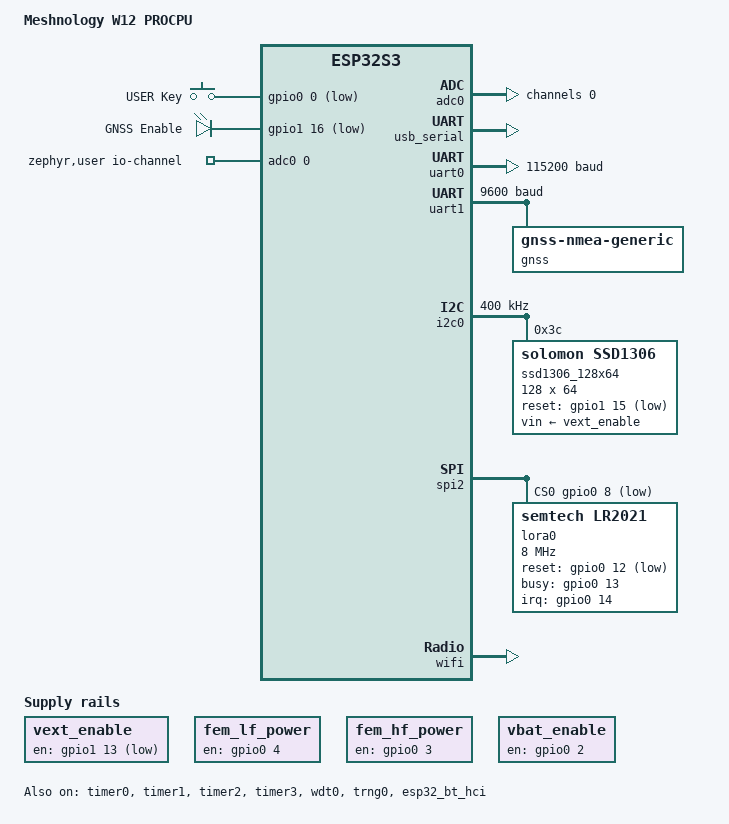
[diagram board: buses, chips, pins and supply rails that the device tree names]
/*
 * SPDX-License-Identifier: MIT
 * Meshnology W12 "WiFi LoRa 32 V5" — ZephCore procpu DTS
 *
 * Every pin and polarity below is taken from the vendor schematic
 * W12-MB-V0.2 and the vendor pin-assignment sheet, both archived in
 * devdocs/w12/vendor/. Several of them contradict what the Arduino-side
 * variants for this board claim; the schematic decides every time — see
 * devdocs/w12/HANDOVER_MESHNOLOGY_W12.md for the list.
 *
 * Hardware:
 *   MCU:     ESP32-S3R8 (WROOM-1 N16R8) — 16 MB QIO flash, 8 MB OPI PSRAM
 *   Radio:   Semtech LR2021 on SPI2, plain 32 MHz crystal (no TCXO)
 *   FEM:     GC1109 sub-GHz PA/LNA (~30 dBm out) + RFX2402E 2.4 GHz PA
 *   OLED:    SSD1315 128x64 (SSD1306-compatible) on I2C0, bicolour glass
 *   Button:  GPIO0 (BOOT doubles as the user key)
 *   BatADC:  GPIO1 = ADC1_CH0, divider enable GPIO2 active-HIGH
 *   Vext:    GPIO45 active-LOW (AO3401 P-FET gating an LDO enable)
 *   GNSS:    header on UART1, unpopulated from the factory
 *   Console: native USB Serial/JTAG (there is no USB-UART bridge)
 *
 * LoRa SPI2:  SCLK=9, MOSI=10, MISO=11, NSS=8
 * LoRa ctrl:  RESET=12, BUSY=13, IRQ=14 (chip DIO8)
 * FEM rails:  sub-GHz enable GPIO4, 2.4 GHz enable GPIO3 (both active-HIGH)
 * FEM switch: chip DIO9=CTX, DIO10=CPS, DIO11=CSD, DIO5/6 = 2.4 GHz TX/RX EN
 */

/dts-v1/;

#include <espressif/esp32s3/esp32s3.dtsi>
#include "meshnology_w12-pinctrl.dtsi"
#include <espressif/partitions_0x0_default_16M.dtsi>
#include <zephyr/dt-bindings/input/input-event-codes.h>
#include <zephyr/dt-bindings/adc/adc.h>

/ {
	model = "Meshnology W12 PROCPU";
	compatible = "meshnology,w12";

	aliases {
		uart-0 = &uart0;
		i2c-0 = &i2c0;
		lora0 = &lora0;
		sw0 = &button0;
		watchdog0 = &wdt0;
	};

	buttons: buttons {
		compatible = "gpio-keys";
		button0: button_0 {
			gpios = <&gpio0 0 (GPIO_PULL_UP | GPIO_ACTIVE_LOW)>;
			label = "USER Key";
			zephyr,code = <INPUT_KEY_0>;
		};
	};

	/* Vext rail — GPIO45, ACTIVE LOW.
	 *
	 * Schematic sheet 1: GPIO45 drives the gate of Q1 (AO3401, P-channel)
	 * through R3 1k. Q1's source sits on VDD_3V3 with R2 100k gate-to-source
	 * holding it off, and its drain feeds the EN pin of U4 (TLV75733 LDO),
	 * which R5 100k pulls to ground. So GPIO45 LOW turns the P-FET on, pulls
	 * EN high and brings VEXT_3V3 up; GPIO45 high or floating leaves the rail
	 * dead. That makes this active-LOW, and it makes the rail OFF by default.
	 *
	 * MeshCore's variant declares PIN_VEXT_EN_ACTIVE=HIGH, which is wrong for
	 * this circuit. Do not "fix" this to active-HIGH to match it without
	 * re-reading sheet 1 — the whole peripheral rail, OLED included, hangs
	 * off this pin.
	 *
	 * GPIO45 is also an ESP32-S3 strapping pin (VDD_SPI voltage select) with
	 * an internal pull-down at reset. That default reads as 0, which is the
	 * same level we drive to enable the rail, so there is no boot conflict —
	 * but never add a pull-up here, it would flip the strap. */
	vext_enable: vext-enable {
		compatible = "regulator-fixed";
		regulator-name = "vext";
		enable-gpios = <&gpio1 13 GPIO_ACTIVE_LOW>;  /* GPIO45 */
		regulator-boot-on;
		regulator-always-on;
	};

	/* Sub-GHz front end rail — GPIO4 (PA_EN_M), ACTIVE HIGH.
	 *
	 * Drives the EN pin of the adjustable regulator that supplies the GC1109
	 * (net VR_PA). Its pull-up R56 is marked NC on the schematic, so the rail
	 * is off until firmware asserts this — the radio is deaf and mute without
	 * it, in both directions, because the GC1109 carries the RX LNA too.
	 *
	 * startup-delay-us matches the 100 ms MeshCore waits after enabling the
	 * FEM before touching the radio. Expressed as a regulator startup delay it
	 * is paid once at regulator init, which runs at priority 75 — ahead of the
	 * LoRa driver — instead of being a sleep on the radio init path. */
	fem_lf_power: fem-lf-power {
		compatible = "regulator-fixed";
		regulator-name = "fem-lf";
		enable-gpios = <&gpio0 4 GPIO_ACTIVE_HIGH>;  /* GPIO4 = PA_EN_M */
		startup-delay-us = <100000>;
		regulator-boot-on;
		regulator-always-on;
	};

	/* 2.4 GHz front end rail — GPIO3 (PA_EN_G), ACTIVE HIGH, deliberately
	 * left DISABLED. ZephCore is sub-GHz only, so the RFX2402E never needs
	 * power, and leaving its rail up would burn current for nothing.
	 *
	 * This is a regulator rather than a comment because an undriven GPIO3
	 * floats: R38 (the EN pull-up) is marked NC, so nothing else defines the
	 * level. regulator_fixed_init() configures the enable pin
	 * GPIO_OUTPUT_INACTIVE when the node has neither regulator-boot-on nor
	 * regulator-always-on, which actively drives GPIO3 LOW at boot. That is
	 * the entire purpose of this node — do not add boot-on/always-on. */
	fem_hf_power: fem-hf-power {
		compatible = "regulator-fixed";
		regulator-name = "fem-hf";
		enable-gpios = <&gpio0 3 GPIO_ACTIVE_HIGH>;  /* GPIO3 = PA_EN_G */
	};

	/* Battery divider enable — GPIO2, ACTIVE HIGH.
	 * GPIO2 -> R52 1k -> base of Q7 (S8050 NPN); Q7's collector pulls the gate
	 * of Q6 (AO3401A P-FET) down through R48 1k, switching BAT onto the
	 * R50 390K / R51 100K divider. Driving GPIO2 high therefore enables the
	 * divider; undriven, the divider is open and GPIO1 reads a hard 0 mV.
	 * ZephyrBoard toggles this per reading, so the divider draws nothing
	 * between samples. */
	vbat_enable: vbat-enable {
		compatible = "regulator-fixed";
		regulator-name = "vbat-enable";
		enable-gpios = <&gpio0 2 GPIO_ACTIVE_HIGH>;  /* GPIO2 = ADC_CTRL */
	};

	/* GNSS module power — GPIO48 (GNSS_CTRL), ACTIVE LOW.
	 * The header is unpopulated on shipping units; the node is unconditional
	 * so a user-fitted module just works, exactly like the RAK4631's optional
	 * RAK1910. With nothing fitted the driver simply never sees a fix. */
	gps_en: gps-enable {
		compatible = "gpio-leds";
		gps_enable_pin: gps_enable {
			gpios = <&gpio1 16 GPIO_ACTIVE_LOW>;  /* GPIO48 */
			label = "GNSS Enable";
		};
	};

	/* Battery ADC — ZephCore reads this via zephyr,user { io-channels }.
	 * Multiplier = internal reference (1100 mV) x divider ratio 4.90
	 * ((390K + 100K) / 100K, schematic R50/R51) = 5390. */
	zephyr,user {
		io-channels = <&adc0 0>;
		vbat-mv-multiplier = <5390>;
	};

	aliases {
		gps-enable = &gps_enable_pin;
	};

	chosen {
		zephyr,sram = &sram1;
		/* There is no USB-UART bridge on this board — GPIO43/44 only reach
		 * the expansion header — so the stock console is USB Serial/JTAG.
		 * A companion build pulls in boards/common/esp32s3_usb.conf, which
		 * hands D+/D- to USB OTG CDC-ACM and reroutes this console to
		 * uart0 on the header. */
		zephyr,console = &usb_serial;
		zephyr,shell-uart = &usb_serial;
		zephyr,flash = &flash0;
		zephyr,code-partition = &slot0_partition;
		zephyr,bt-hci = &esp32_bt_hci;
		zephyr,display = &ssd1306_128x64;
	};
};

/* Battery ADC on adc0 (ADC unit 1 -> GPIO1 = ADC1_CH0). The node *labelled*
 * adc0 is unit 1; the node labelled adc1 is unit 2 (GPIO11 = LR2021 MISO).
 * The channel@0 node is required — without it adc_channel_setup_dt() fails and
 * getBattMilliVolts() returns 0 before ever performing a conversion.
 * ADC_GAIN_1 (0 dB) with ADC_REF_INTERNAL (~1100 mV): a 3.0-4.2 V cell lands at
 * 612-857 mV after the 4.90 divider, comfortably inside range. */
&adc0 {
	status = "okay";
	#address-cells = <1>;
	#size-cells = <0>;

	channel@0 {
		reg = <0>;
		zephyr,gain = "ADC_GAIN_1";
		zephyr,reference = "ADC_REF_INTERNAL";
		zephyr,acquisition-time = <ADC_ACQ_TIME_DEFAULT>;
		zephyr,resolution = <12>;
	};
};

/* ADC unit 2 (label adc1) is unused; keep it disabled so nothing can claim
 * GPIO11 (LR2021 MISO) as an ADC pad. */
&adc1 {
	status = "disabled";
};

&usb_serial {
	status = "okay";
};

&uart0 {
	status = "okay";
	current-speed = <115200>;
	pinctrl-0 = <&uart0_default>;
	pinctrl-names = "default";
};

&uart1 {
	status = "okay";
	current-speed = <9600>;
	pinctrl-0 = <&uart1_default>;
	pinctrl-names = "default";

	gnss: gnss-nmea-generic {
		compatible = "gnss-nmea-generic";
	};
};

&gpio0 {
	status = "okay";
};

&gpio1 {
	status = "okay";
};

&i2c0 {
	status = "okay";
	clock-frequency = <I2C_BITRATE_FAST>;
	pinctrl-0 = <&i2c0_default>;
	pinctrl-names = "default";

	/* SSD1315 — register-compatible with the SSD1306 the Zephyr driver binds
	 * to; the difference is the panel glass (bicolour: top 16 rows yellow),
	 * which is invisible to the driver. Same part as lilygo_timpulse_plus.
	 *
	 * Reset is GPIO47, not GPIO21. The vendor pin sheet lists IO47 = OLED/LCD
	 * RST and IO21 = OLED/LCD CS (CS belongs to the SPI-LCD option this
	 * connector also supports and the shipping I2C panel does not use).
	 * MeshCore's pins_arduino.h has RST_OLED = 21, which is the CS pin. */
	ssd1306_128x64: display-controller@3c {
		compatible = "solomon,ssd1306";
		reg = <0x3c>;
		width = <128>;
		height = <64>;
		segment-offset = <0>;
		page-offset = <0>;
		display-offset = <0>;
		multiplex-ratio = <63>;
		segment-remap;
		com-invdir;
		inversion-on;
		prechargep = <0x22>;
		reset-gpios = <&gpio1 15 GPIO_ACTIVE_LOW>;   /* GPIO47 */
		vin-supply = <&vext_enable>;
	};
};

&spi2 {
	status = "okay";
	#address-cells = <1>;
	#size-cells = <0>;
	pinctrl-0 = <&spim2_default>;
	pinctrl-names = "default";

	/* The LR2021 driver takes NSS from here but strips CS out of its own
	 * spi_dt_spec and toggles the pin itself, because the chip needs NSS held
	 * across a two-window read. The ESP32 SPI controller therefore never
	 * drives CS and the two cannot fight.
	 *
	 * No overrun-character property, and none is needed: the LR2021 HAL clocks
	 * NULL TX buffers on its read windows and the chip parses those bytes, so
	 * MOSI must idle at 0x00 (its NOP) rather than 0xff. On Nordic that takes
	 * an explicit overrun-character; spi_esp32_spim allocates a zero-filled TX
	 * buffer for any RX-only transfer, so ESP32 already sends 0x00. */
	cs-gpios = <&gpio0 8 GPIO_ACTIVE_LOW>;  /* NSS = GPIO8 */

	lora0: lora@0 {
		compatible = "semtech,lr2021";
		reg = <0>;
		spi-max-frequency = <8000000>;

		reset-gpios = <&gpio0 12 GPIO_ACTIVE_LOW>;                    /* GPIO12 */
		busy-gpios  = <&gpio0 13 GPIO_ACTIVE_HIGH>;                   /* GPIO13 */
		irq-gpios  = <&gpio0 14 (GPIO_PULL_DOWN | GPIO_ACTIVE_HIGH)>;/* GPIO14 */

		/* Chip DIO8 -> GPIO14 (schematic net IO14_LORA_INT2). DIO7 goes to
		 * GPIO7 as a second IRQ line (IO7_LORA_INT1) that ZephCore does not
		 * use. DIO5 is NOT free for interrupts here — it drives the 2.4 GHz
		 * PA's TX enable — so leaving irq-dio at its default of 9 would also
		 * be wrong. */
		irq-dio = <8>;

		/* No tcxo-voltage: schematic sheet 3 shows a plain crystal on
		 * XTA/XTB (pins 4/5) and pin 6 wired to the VNTC net, not a TCXO
		 * supply. Setting a TCXO voltage on a board without one wedges the
		 * chip at HF-XOSC startup — that is what happened on the
		 * promicro_lr2021 module. */

		rx-boosted;

		/* RF switch — the LR2021 drives the whole front end itself.
		 *
		 *   DIO5  (bit 0) = RFX2402E 2.4 GHz TX_EN
		 *   DIO6  (bit 1) = RFX2402E 2.4 GHz RX_EN
		 *   DIO9  (bit 4) = GC1109 CTX  (transmit path select)
		 *   DIO10 (bit 5) = GC1109 CPS  (PA vs bypass path)
		 *   DIO11 (bit 6) = GC1109 CSD  (shutdown, HIGH = awake)
		 *
		 * CSD and CPS carry 10k pull-downs (R26/R27), so the GC1109 boots
		 * into shutdown and stays there until these are configured. That is
		 * why the driver's DIO5..DIO8-only loop had to be widened to
		 * DIO5..DIO11 for this board: with DIO9/10/11 unconfigured the node
		 * looks healthy on every register read and hears nothing.
		 *
		 * RX is split per band because the two front ends are mutually
		 * exclusive: sub-GHz RX wakes the GC1109 (CSD high, CTX low = LNA
		 * path), while 2.4 GHz RX must leave it in shutdown and enable the
		 * RFX2402E instead. ZephCore only ever uses the sub-GHz side; the HF
		 * masks are here so the table is a faithful description of the
		 * hardware rather than a half-truth. */
		rfsw-enable  = <0x73>;  /* DIO5,6,9,10,11 */
		rfsw-standby = <0x00>;  /* everything off */
		rfsw-rx-lf   = <0x40>;  /* DIO11: GC1109 out of shutdown, LNA */
		rfsw-rx-hf   = <0x02>;  /* DIO6:  2.4 GHz LNA, GC1109 shut down */
		rfsw-tx      = <0x70>;  /* DIO9|10|11: GC1109 full PA */
		rfsw-tx-hp   = <0x01>;  /* DIO5:  2.4 GHz PA */
	};
};

&timer0 { status = "okay"; };
&timer1 { status = "okay"; };
&timer2 { status = "okay"; };
&timer3 { status = "okay"; };

&wdt0 { status = "okay"; };
&trng0 { status = "okay"; };

&esp32_bt_hci { status = "okay"; };
&wifi { status = "okay"; };

/* Module flash/PSRAM, declared by the board since Zephyr 4.5 removed the
 * per-module dtsi (esp32s3_wroom_n16r8.dtsi). */
&flash0 {
	reg = <0x0 DT_SIZE_M(16)>;
	ranges = <0x0 0x0 DT_SIZE_M(16)>;
};

&psram0 {
	size = <DT_SIZE_M(8)>;
};
